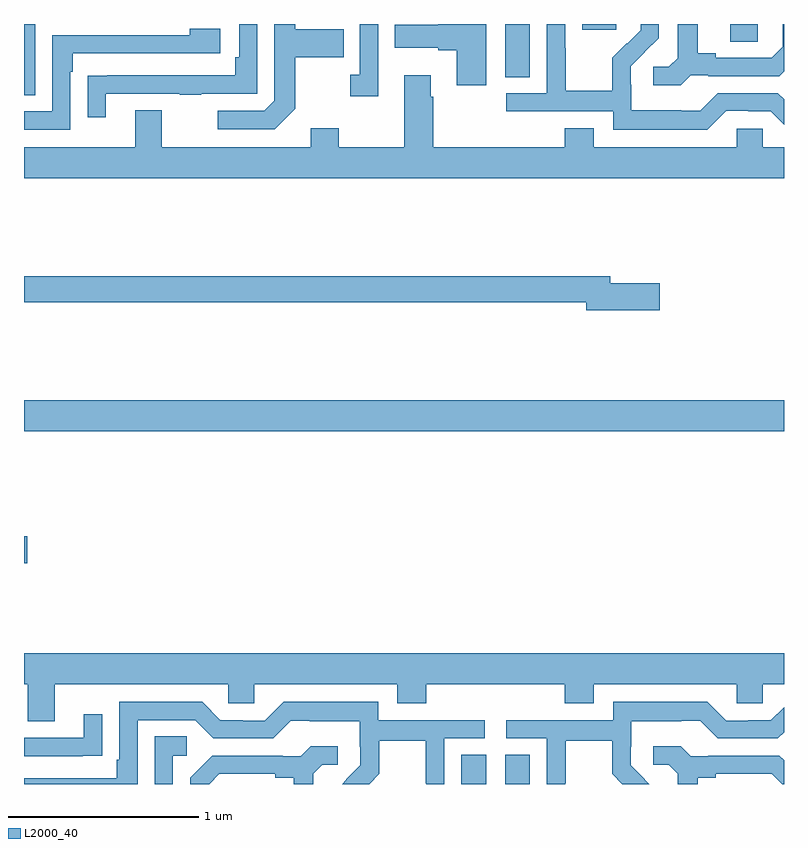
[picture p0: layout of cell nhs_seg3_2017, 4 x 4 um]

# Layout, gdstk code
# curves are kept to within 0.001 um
import gdstk
lib = gdstk.Library(unit=1e-6, precision=1e-09)
def R(c, l, rs):  # rectangles x0, y0, x1, y1
    for r in rs: c.add(gdstk.rectangle(r[:2], r[2:], *l))
def P(c, l, *ps):  # polygons
    for p in ps: c.add(gdstk.Polygon(p, *l))
L2000_40 = (2000, 40)

nhs_seg3_2017 = lib.new_cell('nhs_seg3_2017')
R(nhs_seg3_2017, L2000_40, [(217.301,692.4,217.432,692.555), (217.532,692.4,217.663,692.555), (215,693.562,215.017,693.704), (215,694.256,219,694.42), (215,696.025,215.058,696.4), (217.532,696.121,217.663,696.4), (218.717,696.307,218.862,696.4), (217.937,696.369,218.116,696.4)])
P(nhs_seg3_2017, L2000_40, [(215.431,696.033),(215.821,696.033),(215.821,696.028),(215.933,696.028),(215.933,696.033),(216.228,696.033),(216.228,696.4),(216.132,696.4),(216.132,696.226),(216.112,696.226),(216.112,696.129),(215.437,696.129),(215.437,696.128),(215.335,696.128),(215.335,695.91),(215.431,695.91)],
  [(218.697,695.943),(218.813,695.943),(218.813,695.94),(218.931,695.94),(219,695.871),(219,696.003),(218.967,696.036),(218.652,696.036),(218.559,695.943),(218.459,695.943),(218.459,695.947),(218.196,695.947),(218.196,696.081),(218.194,696.081),(218.194,696.178),(218.34,696.326),(218.34,696.4),(218.246,696.4),(218.246,696.368),(218.175,696.297),(218.172,696.3),(218.095,696.223),(218.095,696.049),(217.851,696.049),(217.851,696.272),(217.848,696.272),(217.848,696.4),(217.752,696.4),(217.752,696.036),(217.539,696.036),(217.539,695.94),(218.1,695.94),(218.1,695.843),(218.597,695.843)],
  [(216.427,695.953),(216.427,696.226),(216.683,696.226),(216.683,696.373),(216.427,696.373),(216.427,696.4),(216.318,696.4),(216.318,695.997),(216.264,695.943),(216.021,695.943),(216.021,695.847),(216.321,695.847)],
  [(216.864,696.4),(216.768,696.4),(216.768,696.134),(216.717,696.134),(216.717,696.021),(216.864,696.021)],
  [(217.432,696.4),(217.181,696.4),(217.181,696.397),(216.951,696.397),(216.951,696.275),(217.181,696.275),(217.181,696.263),(217.277,696.263),(217.277,696.078),(217.432,696.078)],
  [(218.508,696.129),(218.602,696.129),(218.602,696.126),(218.974,696.126),(219,696.152),(219,696.4),(218.993,696.4),(218.993,696.279),(218.936,696.222),(218.641,696.222),(218.641,696.245),(218.545,696.245),(218.545,696.4),(218.441,696.4),(218.441,696.221),(218.394,696.174),(218.313,696.174),(218.313,696.077),(218.456,696.077)],
  [(215.244,696.149),(215.257,696.149),(215.257,696.246),(216.034,696.246),(216.034,696.376),(215.873,696.376),(215.873,696.342),(215.148,696.342),(215.148,695.94),(215,695.94),(215,695.844),(215.244,695.844)],
  [(219,695.752),(218.889,695.752),(218.889,695.85),(218.751,695.85),(218.751,695.752),(217.999,695.752),(217.999,695.851),(217.847,695.851),(217.847,695.752),(217.154,695.752),(217.154,696.017),(217.141,696.017),(217.141,696.13),(217.001,696.13),(217.001,695.752),(216.657,695.752),(216.657,695.851),(216.509,695.851),(216.509,695.752),(215.725,695.752),(215.725,695.947),(215.585,695.947),(215.585,695.752),(215,695.752),(215,695.588),(219,695.588)],
  [(218.347,695.036),(218.086,695.036),(218.086,695.072),(215,695.072),(215,694.936),(217.958,694.936),(217.958,694.894),(218.347,694.894)],
  [(215.161,692.924),(216.075,692.924),(216.075,692.826),(216.213,692.826),(216.213,692.924),(216.965,692.924),(216.965,692.825),(217.118,692.825),(217.118,692.924),(217.847,692.924),(217.847,692.825),(217.999,692.825),(217.999,692.924),(218.751,692.924),(218.751,692.826),(218.889,692.826),(218.889,692.924),(219,692.924),(219,693.088),(215,693.088),(215,692.924),(215.021,692.924),(215.021,692.73),(215.161,692.73)],
  [(215.598,692.736),(215.901,692.736),(215.997,692.64),(216.312,692.64),(216.405,692.733),(216.505,692.733),(216.505,692.729),(216.768,692.729),(216.768,692.595),(216.77,692.595),(216.77,692.498),(216.696,692.424),(216.697,692.423),(216.674,692.4),(216.816,692.4),(216.869,692.453),(216.869,692.628),(217.114,692.628),(217.114,692.404),(217.116,692.404),(217.116,692.4),(217.212,692.4),(217.212,692.64),(217.426,692.64),(217.426,692.736),(216.864,692.736),(216.864,692.833),(216.367,692.833),(216.267,692.733),(216.152,692.733),(216.152,692.736),(216.033,692.736),(215.937,692.832),(215.502,692.832),(215.502,692.527),(215.489,692.527),(215.489,692.43),(215,692.43),(215,692.4),(215.598,692.4)],
  [(217.848,692.404),(217.851,692.404),(217.851,692.628),(218.095,692.628),(218.095,692.453),(218.148,692.4),(218.29,692.4),(218.267,692.423),(218.268,692.424),(218.194,692.498),(218.194,692.595),(218.196,692.595),(218.196,692.729),(218.459,692.729),(218.459,692.733),(218.559,692.733),(218.652,692.64),(218.967,692.64),(219,692.673),(219,692.805),(218.931,692.736),(218.813,692.736),(218.813,692.733),(218.697,692.733),(218.597,692.833),(218.1,692.833),(218.1,692.736),(217.539,692.736),(217.539,692.64),(217.752,692.64),(217.752,692.4),(217.848,692.4)],
  [(215.309,692.548),(215.411,692.548),(215.411,692.767),(215.315,692.767),(215.315,692.643),(215,692.643),(215,692.547),(215.309,692.547)],
  [(215.784,692.55),(215.857,692.55),(215.857,692.651),(215.688,692.651),(215.688,692.4),(215.784,692.4)],
  [(218.545,692.432),(218.641,692.432),(218.641,692.454),(218.936,692.454),(218.99,692.4),(219,692.4),(219,692.524),(218.974,692.55),(218.602,692.55),(218.602,692.547),(218.508,692.547),(218.456,692.599),(218.313,692.599),(218.313,692.502),(218.394,692.502),(218.441,692.455),(218.441,692.4),(218.545,692.4)],
  [(216.028,692.454),(216.323,692.454),(216.323,692.432),(216.419,692.432),(216.419,692.4),(216.523,692.4),(216.523,692.455),(216.57,692.502),(216.652,692.502),(216.652,692.599),(216.508,692.599),(216.456,692.547),(216.362,692.547),(216.362,692.55),(215.99,692.55),(215.874,692.434),(215.874,692.4),(215.974,692.4)])

lib.write_gds('nhs_seg3_2017.gds')
